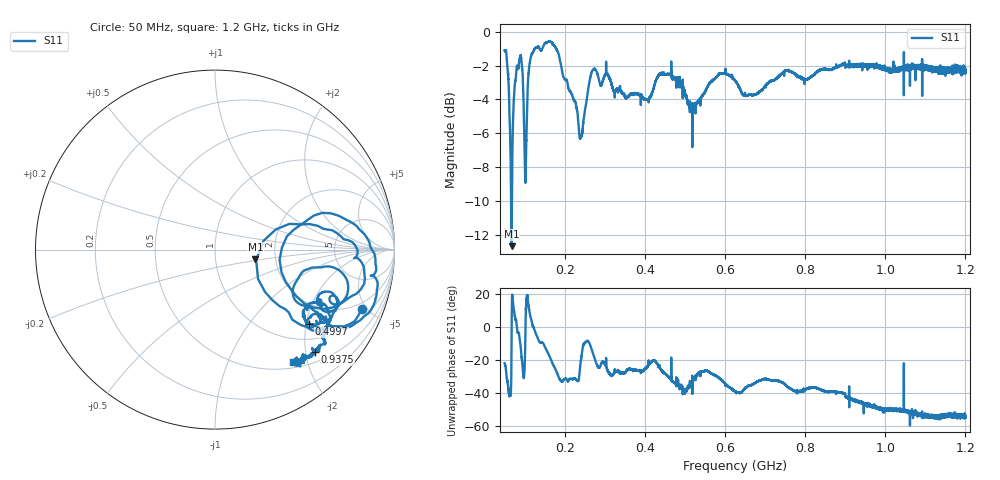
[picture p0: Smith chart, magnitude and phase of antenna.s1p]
! Calibrated high-resolution NanoVNA antenna measurement
# Hz S RI R 50
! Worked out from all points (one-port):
!   40001 points, 50 MHz to 1.2 GHz, reference 50 ohm
!   lowest |S11| = -12.7 dB at 67.22 MHz (marker M1), VSWR 1.60, Z = 78.5 - j9.09 ohm
!   |S11| at or under -10 dB: 66.19 MHz to 68.33 MHz (2.141 MHz wide, 3.18 % of centre)
!   S11 on the Smith chart (normalised r, x): 50 MHz: 1.54, -4.64; 499.7 MHz: 1.39, -2.07; 937.5 MHz: 0.70, -2.19; 1.2 GHz: 0.51, -1.80
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5e7  0.8187 -0.3317
6.0005e7  0.5485 -0.4338
6.722125e7  0.2254 -0.0548
7.34025e7  0.6311 0.1112
8.406875e7  0.78 -0.0455
9.485e7  0.6924 -0.3075
1.018362e8  0.3579 -0.0354
1.091962e8  0.7177 0.1726
1.1578e8  0.8417 0.0722
1.275962e8  0.8936 -0.0627
1.640225e8  0.8855 -0.3024
1.9375e8  0.6382 -0.4185
2.371625e8  0.4337 -0.2241
2.517388e8  0.5902 -0.0992
2.705412e8  0.742 -0.2157
3.375e8  0.5975 -0.31
4.194088e8  0.6231 -0.2332
4.8125e8  0.5889 -0.4101
4.996788e8  0.5221 -0.4149
5.422e8  0.576 -0.2938
5.858712e8  0.6436 -0.3891
6.25e8  0.5587 -0.4527
6.928788e8  0.5701 -0.356
7.6875e8  0.5956 -0.4703
9.125e8  0.5801 -0.543
9.375412e8  0.5588 -0.5704
1.05625e9  0.494 -0.6189
1.2e9  0.4517 -0.6533
